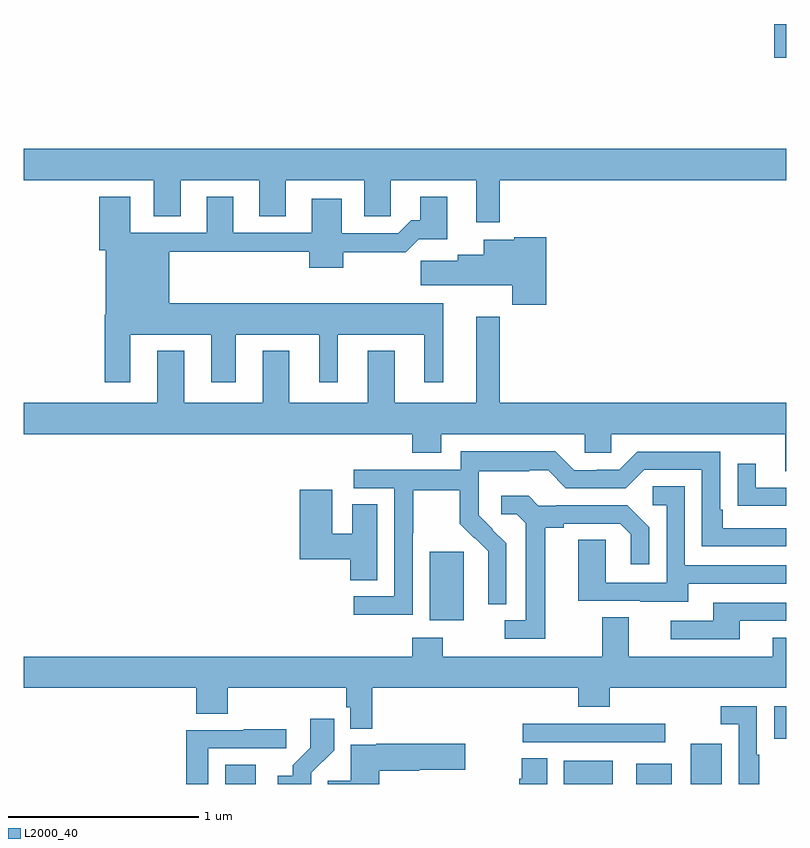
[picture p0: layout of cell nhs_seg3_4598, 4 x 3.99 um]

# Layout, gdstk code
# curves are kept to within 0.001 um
import gdstk
lib = gdstk.Library(unit=1e-6, precision=1e-09)
def R(c, l, rs):  # rectangles x0, y0, x1, y1
    for r in rs: c.add(gdstk.rectangle(r[:2], r[2:], *l))
def P(c, l, *ps):  # polygons
    for p in ps: c.add(gdstk.Polygon(p, *l))
L2000_40 = (2000, 40)

nhs_seg3_4598 = lib.new_cell('nhs_seg3_4598')
R(nhs_seg3_4598, L2000_40, [(358.058,712.4,358.216,712.501), (359.834,712.4,360.091,712.522), (360.212,712.4,360.4,712.507), (360.5,712.4,360.661,712.612), (359.619,712.62,360.364,712.716), (360.936,712.637,361,712.807), (359.129,713.258,359.308,713.619), (360.936,716.209,361,716.387)])
P(nhs_seg3_4598, L2000_40, [(359.497,715.568),(361,715.568),(361,715.732),(357,715.732),(357,715.568),(357.683,715.568),(357.683,715.378),(357.823,715.378),(357.823,715.568),(358.235,715.568),(358.235,715.378),(358.375,715.378),(358.375,715.568),(358.787,715.568),(358.787,715.378),(358.926,715.378),(358.926,715.568),(359.375,715.568),(359.375,715.347),(359.497,715.347)],
  [(357.559,714.758),(357.983,714.758),(357.983,714.507),(358.111,714.507),(358.111,714.758),(358.55,714.758),(358.55,714.507),(358.648,714.507),(358.648,714.758),(359.102,714.758),(359.102,714.507),(359.2,714.507),(359.2,714.922),(357.763,714.922),(357.763,715.192),(358.499,715.192),(358.499,715.109),(358.677,715.109),(358.677,715.19),(359.003,715.19),(359.072,715.259),(359.221,715.259),(359.221,715.48),(359.081,715.48),(359.081,715.357),(359.032,715.357),(358.965,715.29),(358.669,715.29),(358.669,715.471),(358.511,715.471),(358.511,715.293),(358.099,715.293),(358.099,715.48),(357.959,715.48),(357.959,715.293),(357.559,715.293),(357.559,715.48),(357.395,715.48),(357.395,715.2),(357.431,715.2),(357.431,714.862),(357.424,714.862),(357.424,714.507),(357.559,714.507)],
  [(359.741,715.267),(359.574,715.267),(359.574,715.255),(359.414,715.255),(359.414,715.177),(359.276,715.177),(359.276,715.145),(359.082,715.145),(359.082,715.016),(359.563,715.016),(359.563,714.915),(359.741,714.915)],
  [(361,714.4),(359.497,714.4),(359.497,714.85),(359.375,714.85),(359.375,714.4),(358.945,714.4),(358.945,714.673),(358.805,714.673),(358.805,714.4),(358.393,714.4),(358.393,714.673),(358.253,714.673),(358.253,714.4),(357.841,714.4),(357.841,714.673),(357.701,714.673),(357.701,714.4),(357,714.4),(357,714.236),(359.039,714.236),(359.039,714.137),(359.191,714.137),(359.191,714.236),(359.943,714.236),(359.943,714.138),(360.081,714.138),(360.081,714.236),(360.995,714.236),(360.995,714.042),(361,714.042)],
  [(359.04,713.716),(359.043,713.716),(359.043,713.94),(359.287,713.94),(359.287,713.765),(359.364,713.688),(359.367,713.691),(359.438,713.621),(359.438,713.498),(359.436,713.498),(359.436,713.344),(359.532,713.344),(359.532,713.662),(359.386,713.81),(359.386,713.907),(359.388,713.907),(359.388,714.041),(359.651,714.041),(359.651,714.045),(359.751,714.045),(359.844,713.952),(360.159,713.952),(360.255,714.048),(360.558,714.048),(360.558,713.646),(361,713.646),(361,713.742),(360.667,713.742),(360.667,713.839),(360.654,713.839),(360.654,714.144),(360.219,714.144),(360.123,714.048),(360.005,714.048),(360.005,714.045),(359.889,714.045),(359.789,714.145),(359.292,714.145),(359.292,714.048),(358.731,714.048),(358.731,713.952),(358.944,713.952),(358.944,713.385),(358.731,713.385),(358.731,713.287),(359.04,713.287)],
  [(361,713.955),(360.841,713.955),(360.841,714.079),(360.745,714.079),(360.745,713.86),(360.847,713.86),(360.847,713.859),(361,713.859)],
  [(360.487,713.451),(361,713.451),(361,713.547),(360.468,713.547),(360.468,713.963),(360.3,713.963),(360.3,713.862),(360.372,713.862),(360.372,713.457),(360.054,713.457),(360.054,713.681),(359.909,713.681),(359.909,713.361),(360.233,713.361),(360.233,713.357),(360.487,713.357)],
  [(358.855,713.867),(358.724,713.867),(358.724,713.713),(358.618,713.713),(358.618,713.944),(358.448,713.944),(358.448,713.579),(358.712,713.579),(358.712,713.47),(358.855,713.47)],
  [(359.737,713.744),(359.833,713.744),(359.833,713.766),(360.128,713.766),(360.185,713.709),(360.185,713.553),(360.282,713.553),(360.282,713.746),(360.166,713.862),(359.794,713.862),(359.794,713.859),(359.7,713.859),(359.648,713.911),(359.505,713.911),(359.505,713.814),(359.586,713.814),(359.633,713.767),(359.633,713.259),(359.523,713.259),(359.523,713.163),(359.737,713.163)],
  [(360.757,713.256),(361,713.256),(361,713.352),(360.617,713.352),(360.617,713.256),(360.393,713.256),(360.393,713.16),(360.757,713.16)],
  [(359.909,712.805),(360.074,712.805),(360.074,712.904),(361,712.904),(361,713.167),(360.929,713.167),(360.929,713.068),(360.175,713.068),(360.175,713.276),(360.035,713.276),(360.035,713.068),(359.199,713.068),(359.199,713.167),(359.039,713.167),(359.039,713.068),(357,713.068),(357,712.904),(357.905,712.904),(357.905,712.768),(358.07,712.768),(358.07,712.904),(358.693,712.904),(358.693,712.803),(358.713,712.803),(358.713,712.691),(358.829,712.691),(358.829,712.904),(359.909,712.904)],
  [(360.859,712.553),(360.846,712.553),(360.846,712.809),(360.657,712.809),(360.657,712.713),(360.75,712.713),(360.75,712.4),(360.859,712.4)],
  [(358.509,712.459),(358.628,712.578),(358.628,712.741),(358.503,712.741),(358.503,712.589),(358.412,712.499),(358.412,712.444),(358.332,712.444),(358.332,712.4),(358.509,712.4)],
  [(357.969,712.587),(358.378,712.587),(358.378,712.686),(358.153,712.686),(358.153,712.683),(357.853,712.683),(357.853,712.4),(357.969,712.4)],
  [(358.865,712.469),(359.076,712.469),(359.076,712.474),(359.317,712.474),(359.317,712.611),(358.848,712.611),(358.848,712.606),(358.715,712.606),(358.715,712.418),(358.594,712.418),(358.594,712.4),(358.865,712.4)],
  [(359.746,712.535),(359.612,712.535),(359.612,712.427),(359.6,712.427),(359.6,712.4),(359.746,712.4)])

lib.write_gds('nhs_seg3_4598.gds')
